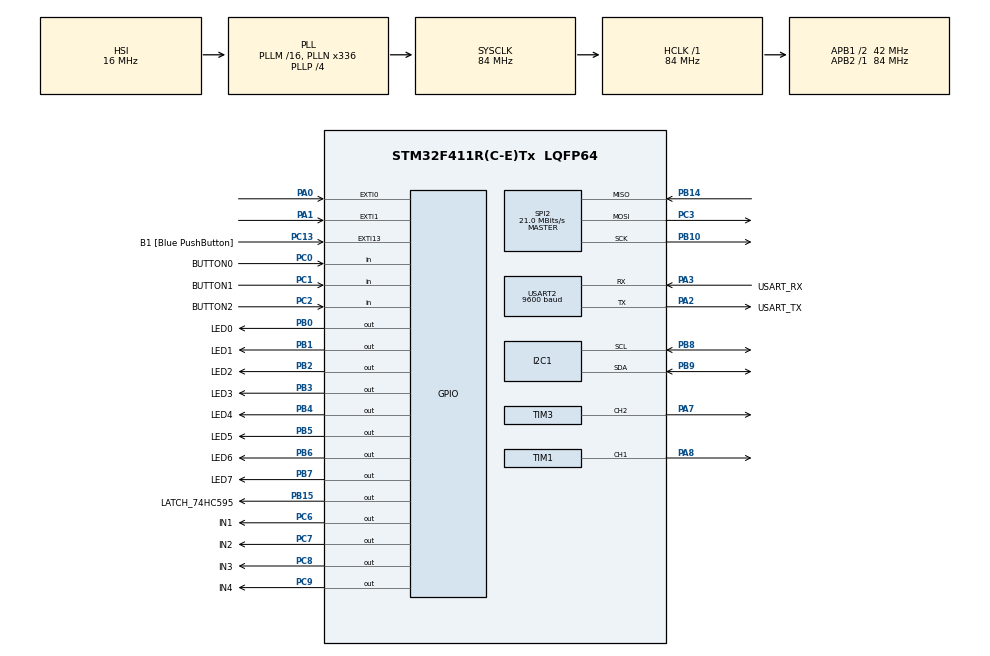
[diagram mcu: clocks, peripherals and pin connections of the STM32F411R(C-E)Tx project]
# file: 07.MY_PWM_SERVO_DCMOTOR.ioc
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FREERTOS.Tasks01=defaultTask,24,128,StartDefaultTask,Default,NULL,Dynamic,NULL,NULL;myTask01,8,128,StartTask01,Default,NULL,Dynamic,NULL,NULL
FREERTOS.configUSE_NEWLIB_REENTRANT=1
Mcu.Family=STM32F4
Mcu.Name=STM32F411R(C-E)Tx
Mcu.Package=LQFP64
NVIC.EXTI0_IRQn=true\:5\:0\:false\:false\:true\:true\:true\:true
NVIC.EXTI1_IRQn=true\:5\:0\:false\:false\:true\:true\:true\:true
NVIC.PriorityGroup=NVIC_PRIORITYGROUP_4
NVIC.TIM1_BRK_TIM9_IRQn=true\:5\:0\:false\:false\:true\:true\:true\:true
NVIC.TIM1_CC_IRQn=true\:5\:0\:false\:false\:true\:true\:true\:true
NVIC.TIM1_TRG_COM_TIM11_IRQn=true\:5\:0\:false\:false\:true\:true\:true\:true
NVIC.TIM1_UP_TIM10_IRQn=true\:5\:0\:false\:false\:true\:false\:false\:true
NVIC.TIM2_IRQn=true\:5\:0\:false\:false\:true\:true\:true\:true
NVIC.TIM3_IRQn=true\:5\:0\:false\:false\:true\:true\:true\:true
NVIC.TimeBase=TIM1_UP_TIM10_IRQn
NVIC.TimeBaseIP=TIM10
NVIC.USART2_IRQn=true\:5\:0\:false\:false\:true\:true\:true\:true
PA0-WKUP.Signal=GPXTI0
PA1.Signal=GPXTI1
PA13.GPIO_Label=TMS
PA13.Mode=Serial_Wire
PA13.Signal=SYS_JTMS-SWDIO
PA14.GPIO_Label=TCK
PA14.Mode=Serial_Wire
PA14.Signal=SYS_JTCK-SWCLK
PA2.GPIO_Label=USART_TX
PA2.Mode=Asynchronous
PA2.Signal=USART2_TX
PA3.GPIO_Label=USART_RX
PA3.Mode=Asynchronous
PA3.Signal=USART2_RX
PA7.Signal=S_TIM3_CH2
PA8.Signal=S_TIM1_CH1
PB0.GPIO_Label=LED0
PB0.Signal=GPIO_Output
PB1.GPIO_Label=LED1
PB1.Signal=GPIO_Output
PB10.Mode=Full_Duplex_Master
PB10.Signal=SPI2_SCK
PB14.Mode=Full_Duplex_Master
PB14.Signal=SPI2_MISO
PB15.GPIO_Label=LATCH_74HC595
PB15.Signal=GPIO_Output
PB2.GPIO_Label=LED2
PB2.Signal=GPIO_Output
PB3.GPIO_Label=LED3
PB3.Signal=GPIO_Output
PB4.GPIO_Label=LED4
PB4.Signal=GPIO_Output
PB5.GPIO_Label=LED5
PB5.Signal=GPIO_Output
PB6.GPIO_Label=LED6
PB6.Signal=GPIO_Output
PB7.GPIO_Label=LED7
PB7.Signal=GPIO_Output
PB8.Mode=I2C
PB8.Signal=I2C1_SCL
PB9.Mode=I2C
PB9.Signal=I2C1_SDA
PC0.GPIO_Label=BUTTON0
PC0.Signal=GPIO_Input
PC1.GPIO_Label=BUTTON1
PC1.Signal=GPIO_Input
PC13-ANTI_TAMP.GPIO_Label=B1 [Blue PushButton]
PC13-ANTI_TAMP.GPIO_ModeDefaultEXTI=GPIO_MODE_IT_FALLING
PC13-ANTI_TAMP.Signal=GPXTI13
PC14-OSC32_IN.Mode=LSE-External-Oscillator
PC14-OSC32_IN.Signal=RCC_OSC32_IN
PC15-OSC32_OUT.Mode=LSE-External-Oscillator
PC15-OSC32_OUT.Signal=RCC_OSC32_OUT
PC2.GPIO_Label=BUTTON2
PC2.Signal=GPIO_Input
PC3.Mode=Full_Duplex_Master
PC3.Signal=SPI2_MOSI
PC6.GPIO_Label=IN1
PC6.Signal=GPIO_Output
PC7.GPIO_Label=IN2
PC7.Signal=GPIO_Output
PC8.GPIO_Label=IN3
PC8.Signal=GPIO_Output
PC9.GPIO_Label=IN4
PC9.Signal=GPIO_Output
PH0\ -\ OSC_IN.Mode=HSE-External-Clock-Source
PH0\ -\ OSC_IN.Signal=RCC_OSC_IN
PH1\ -\ OSC_OUT.Mode=HSE-External-Clock-Source
PH1\ -\ OSC_OUT.Signal=RCC_OSC_OUT
ProjectManager.HeapSize=0x200
ProjectManager.StackSize=0x400
ProjectManager.TargetToolchain=STM32CubeIDE
RCC.48MHZClocksFreq_Value=84000000
RCC.AHBFreq_Value=84000000
RCC.APB1CLKDivider=RCC_HCLK_DIV2
RCC.APB1Freq_Value=42000000
RCC.APB1TimFreq_Value=84000000
RCC.APB2Freq_Value=84000000
RCC.APB2TimFreq_Value=84000000
RCC.CortexFreq_Value=84000000
RCC.FLatency-AdvancedSettings=FLASH_LATENCY_2
RCC.HCLKFreq_Value=84000000
RCC.HSE_VALUE=8000000
RCC.HSI_VALUE=16000000
RCC.PLLN=336
RCC.PLLP=RCC_PLLP_DIV4
RCC.SYSCLKFreq_VALUE=84000000
RCC.SYSCLKSource=RCC_SYSCLKSOURCE_PLLCLK
RCC.VCOOutputFreq_Value=336000000
RTC.Date=24
RTC.Hours=13
RTC.Minutes=22
RTC.Month=RTC_MONTH_MAY
RTC.WeekDay=RTC_WEEKDAY_FRIDAY
RTC.Year=24
SH.S_TIM1_CH1.0=TIM1_CH1,PWM Generation1 CH1
SH.S_TIM3_CH2.0=TIM3_CH2,PWM Generation2 CH2
SPI2.CalculateBaudRate=21.0 MBits/s
SPI2.Direction=SPI_DIRECTION_2LINES
SPI2.Mode=SPI_MODE_MASTER
SPI2.VirtualType=VM_MASTER
TIM1.Channel-PWM\ Generation1\ CH1=TIM_CHANNEL_1
TIM1.Period=100-1
TIM1.Prescaler=840-1
TIM1.Pulse-PWM\ Generation1\ CH1=60
TIM11.Period=65535
TIM11.Prescaler=84-1
TIM2.Period=1000-1
TIM2.Prescaler=84-1
TIM3.Channel-PWM\ Generation2\ CH2=TIM_CHANNEL_2
TIM3.Period=1000-1
TIM3.Prescaler=1680-1
USART2.BaudRate=9600
USART2.VirtualMode=VM_ASYNC
VP_FREERTOS_VS_CMSIS_V2.Mode=CMSIS_V2
VP_RTC_VS_RTC_Activate.Mode=RTC_Enabled
VP_RTC_VS_RTC_Calendar.Mode=RTC_Calendar
VP_SYS_VS_tim10.Mode=TIM10
VP_TIM11_VS_ClockSourceINT.Mode=Enable_Timer
VP_TIM1_VS_ClockSourceINT.Mode=Internal
VP_TIM2_VS_ClockSourceINT.Mode=Internal
VP_TIM3_VS_ClockSourceINT.Mode=Internal
board=NUCLEO-F411RE

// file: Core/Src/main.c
/* USER CODE BEGIN Header */
/**
  ******************************************************************************
  * @file           : main.c
  * @brief          : Main program body
  ******************************************************************************
  * @attention
  *
  * <h2><center>&copy; Copyright (c) 2024 STMicroelectronics.
  * All rights reserved.</center></h2>
  *
  * This software component is licensed by ST under BSD 3-Clause license,
  * the "License"; You may not use this file except in compliance with the
  * License. You may obtain a copy of the License at:
  *                        opensource.org/licenses/BSD-3-Clause
  *
  ******************************************************************************
  */
/* USER CODE END Header */
#include "main.h"
#include "cmsis_os.h"

/* USER CODE BEGIN Includes */
#include "def.h"
/* USER CODE END Includes */

I2C_HandleTypeDef hi2c1;

RTC_HandleTypeDef hrtc;

SPI_HandleTypeDef hspi2;

TIM_HandleTypeDef htim1;
TIM_HandleTypeDef htim2;
TIM_HandleTypeDef htim3;
TIM_HandleTypeDef htim11;

UART_HandleTypeDef huart2;

/* Definitions for defaultTask */
osThreadId_t defaultTaskHandle;
const osThreadAttr_t defaultTask_attributes = {
  .name = "defaultTask",
  .stack_size = 128 * 4,
  .priority = (osPriority_t) osPriorityNormal,
};
/* Definitions for myTask01 */
osThreadId_t myTask01Handle;
const osThreadAttr_t myTask01_attributes = {
  .name = "myTask01",
  .stack_size = 128 * 4,
  .priority = (osPriority_t) osPriorityLow,
};
/* USER CODE BEGIN PV */
uint8_t rx_data;

volatile int TIM2_1ms_counter=0;
volatile int TIM2_DHT11_counter=0;
volatile int TIM2_74HC595_counter=0;
volatile int TIM2_servo_motor_count=0;

extern uint16_t CCR_value; //PWM control value
/* USER CODE END PV */

void SystemClock_Config(void);
static void MX_GPIO_Init(void);
static void MX_USART2_UART_Init(void);
static void MX_TIM11_Init(void);
static void MX_TIM2_Init(void);
static void MX_RTC_Init(void);
static void MX_I2C1_Init(void);
static void MX_SPI2_Init(void);
static void MX_TIM3_Init(void);
static void MX_TIM1_Init(void);
void StartDefaultTask(void *argument);
void StartTask01(void *argument);

/* USER CODE BEGIN PFP */
extern void led_all_on(void);
extern void led_all_off(void);
extern void led2_toggle(void);
extern void led_on_up();
extern void led_on_down();
extern void ledbar0_toggle(void);
extern void ledbar1_toggle(void);
extern void ledbar2_toggle(void);
extern void led_main(void);
extern void button0_check(void);
extern void delay_us(unsigned int us);
extern void DHT11_Init(void);
extern void get_rtc_date_time(void);
extern void pc_command_processing(void);
extern void led_74hc595_demo(void);
extern void dotmatrix_main_test(void);
extern void stepmotor_main(void);
// Controls the motor state based on the state of the button being pressed.
extern void stepmotor_btn_check(void);
extern void dc_motor_pwm_control(void);
extern void UpdateLEDBasedOnPWM();
/* USER CODE END PFP */

/* USER CODE BEGIN 0 */
//-- call by SysTick_Handler of stm32f4xx_it.c
// SysTick_Handler : ARM core default timer
volatile int t1ms_counter=0;
void HAL_SYSTICK_Handler()
{
	t1ms_counter++;   // 1ms timer counter
}
//------------ printf start -----------------------
#ifdef __GNUC__    // Add for printf
/* With GCC, small printf (option LD Linker->Libraries->Small printf
   set to 'Yes') calls __io_putchar() */
#define PUTCHAR_PROTOTYPE int __io_putchar(int ch)
#else
#define PUTCHAR_PROTOTYPE int fputc(int ch, FILE *f)
#endif /* __GNUC__ */
/**
  * @brief  Retargets the C library printf function to the USART.
  * @param  None
  * @retval None
  */
PUTCHAR_PROTOTYPE   // Add for printf
{
  /* Place your implementation of fputc here */
  /* e.g. write a character to the USART2 and Loop until the end of transmission */
  HAL_UART_Transmit(&huart2, (uint8_t *)&ch, 1, 0xFFFF);

  return ch;
}
//-------------------- printf end --------------------
/* USER CODE END 0 */

int main(void)
{
  /* USER CODE BEGIN 1 */
	int led_state=0;
  /* USER CODE END 1 */

  /* MCU Configuration--------------------------------------------------------*/

  /* Reset of all peripherals, Initializes the Flash interface and the Systick. */
  HAL_Init();

  /* Configure the system clock */
  SystemClock_Config();

  /* Initialize all configured peripherals */
  MX_GPIO_Init();
  MX_USART2_UART_Init();
  MX_TIM11_Init();
  MX_TIM2_Init();
  MX_RTC_Init();
  MX_I2C1_Init();
  MX_SPI2_Init();
  MX_TIM3_Init();
  MX_TIM1_Init();
  /* USER CODE BEGIN 2 */
  HAL_UART_Receive_IT(&huart2, &rx_data, 1);   // assign RX INT
  HAL_TIM_Base_Start_IT(&htim2);  // ADD_SIKWON_0523
  HAL_TIM_Base_Start_IT(&htim11);  // ADD_SIKWON_0523
  HAL_TIM_PWM_Start(&htim3, TIM_CHANNEL_2); // ADD_PWM_SERVO_MOTOR
  HAL_TIM_PWM_Start(&htim1, TIM_CHANNEL_1); // ADD_PWM_DC_MOTOR
  CCR_value = __HAL_TIM_GET_COMPARE(&htim1,TIM_CHANNEL_1);
  /* USER CODE END 2 */

  /* Init scheduler */
  osKernelInitialize();

  /* Create the thread(s) */
  /* creation of defaultTask */
  defaultTaskHandle = osThreadNew(StartDefaultTask, NULL, &defaultTask_attributes);

  /* creation of myTask01 */
  myTask01Handle = osThreadNew(StartTask01, NULL, &myTask01_attributes);

  /* Start scheduler */
  osKernelStart();

  /* We should never get here as control is now taken by the scheduler */
  /* Infinite loop */
  while (1)
  {

  }
}

void SystemClock_Config(void)
{
  RCC_OscInitTypeDef RCC_OscInitStruct = {0};
  RCC_ClkInitTypeDef RCC_ClkInitStruct = {0};

  /** Configure the main internal regulator output voltage
  */
  __HAL_RCC_PWR_CLK_ENABLE();
  __HAL_PWR_VOLTAGESCALING_CONFIG(PWR_REGULATOR_VOLTAGE_SCALE1);
  /** Initializes the RCC Oscillators according to the specified parameters
  * in the RCC_OscInitTypeDef structure.
  */
  RCC_OscInitStruct.OscillatorType = RCC_OSCILLATORTYPE_HSI|RCC_OSCILLATORTYPE_LSI;
  RCC_OscInitStruct.HSIState = RCC_HSI_ON;
  RCC_OscInitStruct.HSICalibrationValue = RCC_HSICALIBRATION_DEFAULT;
  RCC_OscInitStruct.LSIState = RCC_LSI_ON;
  RCC_OscInitStruct.PLL.PLLState = RCC_PLL_ON;
  RCC_OscInitStruct.PLL.PLLSource = RCC_PLLSOURCE_HSI;
  RCC_OscInitStruct.PLL.PLLM = 16;
  RCC_OscInitStruct.PLL.PLLN = 336;
  RCC_OscInitStruct.PLL.PLLP = RCC_PLLP_DIV4;
  RCC_OscInitStruct.PLL.PLLQ = 4;
  if (HAL_RCC_OscConfig(&RCC_OscInitStruct) != HAL_OK)
  {
    Error_Handler();
  }
  /** Initializes the CPU, AHB and APB buses clocks
  */
  RCC_ClkInitStruct.ClockType = RCC_CLOCKTYPE_HCLK|RCC_CLOCKTYPE_SYSCLK
                              |RCC_CLOCKTYPE_PCLK1|RCC_CLOCKTYPE_PCLK2;
  RCC_ClkInitStruct.SYSCLKSource = RCC_SYSCLKSOURCE_PLLCLK;
  RCC_ClkInitStruct.AHBCLKDivider = RCC_SYSCLK_DIV1;
  RCC_ClkInitStruct.APB1CLKDivider = RCC_HCLK_DIV2;
  RCC_ClkInitStruct.APB2CLKDivider = RCC_HCLK_DIV1;

  if (HAL_RCC_ClockConfig(&RCC_ClkInitStruct, FLASH_LATENCY_2) != HAL_OK)
  {
    Error_Handler();
  }
}

static void MX_I2C1_Init(void)
{

  hi2c1.Instance = I2C1;
  hi2c1.Init.ClockSpeed = 100000;
  hi2c1.Init.DutyCycle = I2C_DUTYCYCLE_2;
  hi2c1.Init.OwnAddress1 = 0;
  hi2c1.Init.AddressingMode = I2C_ADDRESSINGMODE_7BIT;
  hi2c1.Init.DualAddressMode = I2C_DUALADDRESS_DISABLE;
  hi2c1.Init.OwnAddress2 = 0;
  hi2c1.Init.GeneralCallMode = I2C_GENERALCALL_DISABLE;
  hi2c1.Init.NoStretchMode = I2C_NOSTRETCH_DISABLE;
  if (HAL_I2C_Init(&hi2c1) != HAL_OK)
  {
    Error_Handler();
  }

}

static void MX_RTC_Init(void)
{

  RTC_TimeTypeDef sTime = {0};
  RTC_DateTypeDef sDate = {0};

  /** Initialize RTC Only
  */
  hrtc.Instance = RTC;
  hrtc.Init.HourFormat = RTC_HOURFORMAT_24;
  hrtc.Init.AsynchPrediv = 127;
  hrtc.Init.SynchPrediv = 255;
  hrtc.Init.OutPut = RTC_OUTPUT_DISABLE;
  hrtc.Init.OutPutPolarity = RTC_OUTPUT_POLARITY_HIGH;
  hrtc.Init.OutPutType = RTC_OUTPUT_TYPE_OPENDRAIN;
  if (HAL_RTC_Init(&hrtc) != HAL_OK)
  {
    Error_Handler();
  }

  /** Initialize RTC and set the Time and Date
  */
  sTime.Hours = 0x13;
  sTime.Minutes = 0x22;
  sTime.Seconds = 0x0;
  sTime.DayLightSaving = RTC_DAYLIGHTSAVING_NONE;
  sTime.StoreOperation = RTC_STOREOPERATION_RESET;
  if (HAL_RTC_SetTime(&hrtc, &sTime, RTC_FORMAT_BCD) != HAL_OK)
  {
    Error_Handler();
  }
  sDate.WeekDay = RTC_WEEKDAY_FRIDAY;
  sDate.Month = RTC_MONTH_MAY;
  sDate.Date = 0x24;
  sDate.Year = 0x24;

  if (HAL_RTC_SetDate(&hrtc, &sDate, RTC_FORMAT_BCD) != HAL_OK)
  {
    Error_Handler();
  }

}

static void MX_SPI2_Init(void)
{

  /* SPI2 parameter configuration*/
  hspi2.Instance = SPI2;
  hspi2.Init.Mode = SPI_MODE_MASTER;
  hspi2.Init.Direction = SPI_DIRECTION_2LINES;
  hspi2.Init.DataSize = SPI_DATASIZE_8BIT;
  hspi2.Init.CLKPolarity = SPI_POLARITY_LOW;
  hspi2.Init.CLKPhase = SPI_PHASE_1EDGE;
  hspi2.Init.NSS = SPI_NSS_SOFT;
  hspi2.Init.BaudRatePrescaler = SPI_BAUDRATEPRESCALER_2;
  hspi2.Init.FirstBit = SPI_FIRSTBIT_MSB;
  hspi2.Init.TIMode = SPI_TIMODE_DISABLE;
  hspi2.Init.CRCCalculation = SPI_CRCCALCULATION_DISABLE;
  hspi2.Init.CRCPolynomial = 10;
  if (HAL_SPI_Init(&hspi2) != HAL_OK)
  {
    Error_Handler();
  }

}

static void MX_TIM1_Init(void)
{

  TIM_ClockConfigTypeDef sClockSourceConfig = {0};
  TIM_MasterConfigTypeDef sMasterConfig = {0};
  TIM_OC_InitTypeDef sConfigOC = {0};
  TIM_BreakDeadTimeConfigTypeDef sBreakDeadTimeConfig = {0};

  htim1.Instance = TIM1;
  htim1.Init.Prescaler = 840-1;
  htim1.Init.CounterMode = TIM_COUNTERMODE_UP;
  htim1.Init.Period = 100-1;
  htim1.Init.ClockDivision = TIM_CLOCKDIVISION_DIV1;
  htim1.Init.RepetitionCounter = 0;
  htim1.Init.AutoReloadPreload = TIM_AUTORELOAD_PRELOAD_DISABLE;
  if (HAL_TIM_Base_Init(&htim1) != HAL_OK)
  {
    Error_Handler();
  }
  sClockSourceConfig.ClockSource = TIM_CLOCKSOURCE_INTERNAL;
  if (HAL_TIM_ConfigClockSource(&htim1, &sClockSourceConfig) != HAL_OK)
  {
    Error_Handler();
  }
  if (HAL_TIM_PWM_Init(&htim1) != HAL_OK)
  {
    Error_Handler();
  }
  sMasterConfig.MasterOutputTrigger = TIM_TRGO_RESET;
  sMasterConfig.MasterSlaveMode = TIM_MASTERSLAVEMODE_DISABLE;
  if (HAL_TIMEx_MasterConfigSynchronization(&htim1, &sMasterConfig) != HAL_OK)
  {
    Error_Handler();
  }
  sConfigOC.OCMode = TIM_OCMODE_PWM1;
  sConfigOC.Pulse = 60;
  sConfigOC.OCPolarity = TIM_OCPOLARITY_HIGH;
  sConfigOC.OCNPolarity = TIM_OCNPOLARITY_HIGH;
  sConfigOC.OCFastMode = TIM_OCFAST_DISABLE;
  sConfigOC.OCIdleState = TIM_OCIDLESTATE_RESET;
  sConfigOC.OCNIdleState = TIM_OCNIDLESTATE_RESET;
  if (HAL_TIM_PWM_ConfigChannel(&htim1, &sConfigOC, TIM_CHANNEL_1) != HAL_OK)
  {
    Error_Handler();
  }
  sBreakDeadTimeConfig.OffStateRunMode = TIM_OSSR_DISABLE;
  sBreakDeadTimeConfig.OffStateIDLEMode = TIM_OSSI_DISABLE;
  sBreakDeadTimeConfig.LockLevel = TIM_LOCKLEVEL_OFF;
  sBreakDeadTimeConfig.DeadTime = 0;
  sBreakDeadTimeConfig.BreakState = TIM_BREAK_DISABLE;
  sBreakDeadTimeConfig.BreakPolarity = TIM_BREAKPOLARITY_HIGH;
  sBreakDeadTimeConfig.AutomaticOutput = TIM_AUTOMATICOUTPUT_DISABLE;
  if (HAL_TIMEx_ConfigBreakDeadTime(&htim1, &sBreakDeadTimeConfig) != HAL_OK)
  {
    Error_Handler();
  }
  HAL_TIM_MspPostInit(&htim1);

}

static void MX_TIM2_Init(void)
{

  TIM_ClockConfigTypeDef sClockSourceConfig = {0};
  TIM_MasterConfigTypeDef sMasterConfig = {0};

  htim2.Instance = TIM2;
  htim2.Init.Prescaler = 84-1;
  htim2.Init.CounterMode = TIM_COUNTERMODE_UP;
  htim2.Init.Period = 1000-1;
  htim2.Init.ClockDivision = TIM_CLOCKDIVISION_DIV1;
  htim2.Init.AutoReloadPreload = TIM_AUTORELOAD_PRELOAD_DISABLE;
  if (HAL_TIM_Base_Init(&htim2) != HAL_OK)
  {
    Error_Handler();
  }
  sClockSourceConfig.ClockSource = TIM_CLOCKSOURCE_INTERNAL;
  if (HAL_TIM_ConfigClockSource(&htim2, &sClockSourceConfig) != HAL_OK)
  {
    Error_Handler();
  }
  sMasterConfig.MasterOutputTrigger = TIM_TRGO_RESET;
  sMasterConfig.MasterSlaveMode = TIM_MASTERSLAVEMODE_DISABLE;
  if (HAL_TIMEx_MasterConfigSynchronization(&htim2, &sMasterConfig) != HAL_OK)
  {
    Error_Handler();
  }

}

static void MX_TIM3_Init(void)
{

  TIM_ClockConfigTypeDef sClockSourceConfig = {0};
  TIM_MasterConfigTypeDef sMasterConfig = {0};
  TIM_OC_InitTypeDef sConfigOC = {0};

  htim3.Instance = TIM3;
  htim3.Init.Prescaler = 1680-1;
  htim3.Init.CounterMode = TIM_COUNTERMODE_UP;
  htim3.Init.Period = 1000-1;
  htim3.Init.ClockDivision = TIM_CLOCKDIVISION_DIV1;
  htim3.Init.AutoReloadPreload = TIM_AUTORELOAD_PRELOAD_DISABLE;
  if (HAL_TIM_Base_Init(&htim3) != HAL_OK)
  {
    Error_Handler();
  }
  sClockSourceConfig.ClockSource = TIM_CLOCKSOURCE_INTERNAL;
  if (HAL_TIM_ConfigClockSource(&htim3, &sClockSourceConfig) != HAL_OK)
  {
    Error_Handler();
  }
  if (HAL_TIM_PWM_Init(&htim3) != HAL_OK)
  {
    Error_Handler();
  }
  sMasterConfig.MasterOutputTrigger = TIM_TRGO_RESET;
  sMasterConfig.MasterSlaveMode = TIM_MASTERSLAVEMODE_DISABLE;
  if (HAL_TIMEx_MasterConfigSynchronization(&htim3, &sMasterConfig) != HAL_OK)
  {
    Error_Handler();
  }
  sConfigOC.OCMode = TIM_OCMODE_PWM1;
  sConfigOC.Pulse = 0;
  sConfigOC.OCPolarity = TIM_OCPOLARITY_HIGH;
  sConfigOC.OCFastMode = TIM_OCFAST_DISABLE;
  if (HAL_TIM_PWM_ConfigChannel(&htim3, &sConfigOC, TIM_CHANNEL_2) != HAL_OK)
  {
    Error_Handler();
  }
  HAL_TIM_MspPostInit(&htim3);

}

static void MX_TIM11_Init(void)
{

  htim11.Instance = TIM11;
  htim11.Init.Prescaler = 84-1;
  htim11.Init.CounterMode = TIM_COUNTERMODE_UP;
  htim11.Init.Period = 65535;
  htim11.Init.ClockDivision = TIM_CLOCKDIVISION_DIV1;
  htim11.Init.AutoReloadPreload = TIM_AUTORELOAD_PRELOAD_DISABLE;
  if (HAL_TIM_Base_Init(&htim11) != HAL_OK)
  {
    Error_Handler();
  }

}

static void MX_USART2_UART_Init(void)
{

  huart2.Instance = USART2;
  huart2.Init.BaudRate = 9600;
  huart2.Init.WordLength = UART_WORDLENGTH_8B;
  huart2.Init.StopBits = UART_STOPBITS_1;
  huart2.Init.Parity = UART_PARITY_NONE;
  huart2.Init.Mode = UART_MODE_TX_RX;
  huart2.Init.HwFlowCtl = UART_HWCONTROL_NONE;
  huart2.Init.OverSampling = UART_OVERSAMPLING_16;
  if (HAL_UART_Init(&huart2) != HAL_OK)
  {
    Error_Handler();
  }

}

static void MX_GPIO_Init(void)
{
  GPIO_InitTypeDef GPIO_InitStruct = {0};

  /* GPIO Ports Clock Enable */
  __HAL_RCC_GPIOC_CLK_ENABLE();
  __HAL_RCC_GPIOH_CLK_ENABLE();
  __HAL_RCC_GPIOA_CLK_ENABLE();
  __HAL_RCC_GPIOB_CLK_ENABLE();

  /*Configure GPIO pin Output Level */
  HAL_GPIO_WritePin(GPIOB, LED0_Pin|LED1_Pin|LED2_Pin|LATCH_74HC595_Pin
                          |LED3_Pin|LED4_Pin|LED5_Pin|LED6_Pin
                          |LED7_Pin, GPIO_PIN_RESET);

  /*Configure GPIO pin Output Level */
  HAL_GPIO_WritePin(GPIOC, IN1_Pin|IN2_Pin|IN3_Pin|IN4_Pin, GPIO_PIN_RESET);

  /*Configure GPIO pin : B1_Pin */
  GPIO_InitStruct.Pin = B1_Pin;
  GPIO_InitStruct.Mode = GPIO_MODE_IT_FALLING;
  GPIO_InitStruct.Pull = GPIO_NOPULL;
  HAL_GPIO_Init(B1_GPIO_Port, &GPIO_InitStruct);

  /*Configure GPIO pins : BUTTON0_Pin BUTTON1_Pin BUTTON2_Pin */
  GPIO_InitStruct.Pin = BUTTON0_Pin|BUTTON1_Pin|BUTTON2_Pin;
  GPIO_InitStruct.Mode = GPIO_MODE_INPUT;
  GPIO_InitStruct.Pull = GPIO_NOPULL;
  HAL_GPIO_Init(GPIOC, &GPIO_InitStruct);

  /*Configure GPIO pins : PA0 PA1 */
  GPIO_InitStruct.Pin = GPIO_PIN_0|GPIO_PIN_1;
  GPIO_InitStruct.Mode = GPIO_MODE_IT_RISING;
  GPIO_InitStruct.Pull = GPIO_NOPULL;
  HAL_GPIO_Init(GPIOA, &GPIO_InitStruct);

  /*Configure GPIO pins : LED0_Pin LED1_Pin LED2_Pin LATCH_74HC595_Pin
                           LED3_Pin LED4_Pin LED5_Pin LED6_Pin
                           LED7_Pin */
  GPIO_InitStruct.Pin = LED0_Pin|LED1_Pin|LED2_Pin|LATCH_74HC595_Pin
                          |LED3_Pin|LED4_Pin|LED5_Pin|LED6_Pin
                          |LED7_Pin;
  GPIO_InitStruct.Mode = GPIO_MODE_OUTPUT_PP;
  GPIO_InitStruct.Pull = GPIO_NOPULL;
  GPIO_InitStruct.Speed = GPIO_SPEED_FREQ_LOW;
  HAL_GPIO_Init(GPIOB, &GPIO_InitStruct);

  /*Configure GPIO pins : IN1_Pin IN2_Pin IN3_Pin IN4_Pin */
  GPIO_InitStruct.Pin = IN1_Pin|IN2_Pin|IN3_Pin|IN4_Pin;
  GPIO_InitStruct.Mode = GPIO_MODE_OUTPUT_PP;
  GPIO_InitStruct.Pull = GPIO_NOPULL;
  GPIO_InitStruct.Speed = GPIO_SPEED_FREQ_LOW;
  HAL_GPIO_Init(GPIOC, &GPIO_InitStruct);

  /* EXTI interrupt init*/
  HAL_NVIC_SetPriority(EXTI0_IRQn, 5, 0);
  HAL_NVIC_EnableIRQ(EXTI0_IRQn);

  HAL_NVIC_SetPriority(EXTI1_IRQn, 5, 0);
  HAL_NVIC_EnableIRQ(EXTI1_IRQn);

}

void StartDefaultTask(void *argument)
{
  /* USER CODE BEGIN 5 */
  /* Infinite loop */
  for(;;)  // while(1)
  {
	  dc_motor_pwm_control();
	  osDelay(1);
  }
  /* USER CODE END 5 */
}

void StartTask01(void *argument)
{
  /* USER CODE BEGIN StartTask01 */
  /* Infinite loop */
  for(;;)
  {
	  UpdateLEDBasedOnPWM();
	  osDelay(1);
  }
  /* USER CODE END StartTask01 */
}

void HAL_TIM_PeriodElapsedCallback(TIM_HandleTypeDef *htim)
{
  /* USER CODE BEGIN Callback 0 */
//////
  /* USER CODE END Callback 0 */
  if (htim->Instance == TIM10) {
    HAL_IncTick();
  }
  /* USER CODE BEGIN Callback 1 */
	if (htim->Instance == TIM2)
	{
		TIM2_servo_motor_count++;
		TIM2_1ms_counter++;
		TIM2_DHT11_counter++;
		TIM2_74HC595_counter++;
	}
  /* USER CODE END Callback 1 */
}

void Error_Handler(void)
{
  __disable_irq();
  while (1)
  {
  }
}

/************************ (C) COPYRIGHT STMicroelectronics *****END OF FILE****/
